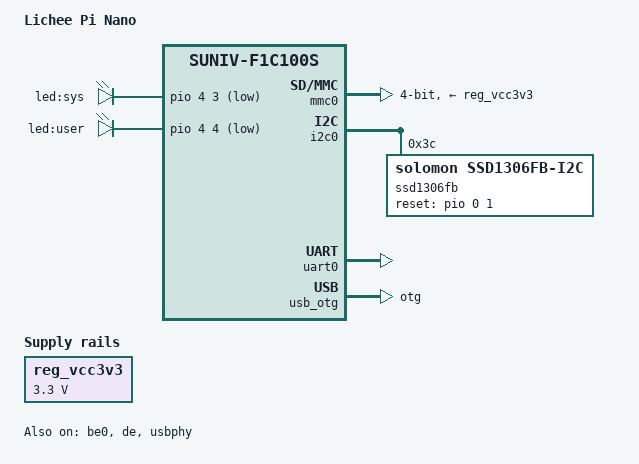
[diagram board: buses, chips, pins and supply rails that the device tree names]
// SPDX-License-Identifier: (GPL-2.0+ OR X11)
/*
 * Copyright 2018 Icenowy Zheng <icenowy@aosc.io>
 */

/dts-v1/;
#include "suniv-f1c100s.dtsi"

#include <dt-bindings/gpio/gpio.h>

/ {
	model = "Lichee Pi Nano";
	compatible = "licheepi,licheepi-nano", "allwinner,suniv-f1c100s";

	aliases {
		serial0 = &uart0;
		// serial1 = &uart1;
		i2c0 = &i2c0;
		// spi0 = &spi0;
	};

	chosen {
		stdout-path = "serial0:115200n8";
	};

	leds {
		compatible = "gpio-leds";

		sys_led {
			label = "led:sys";
			gpios = <&pio 4 3 GPIO_ACTIVE_LOW>; /* PE3 */
			default-state = "on";
		};

		user_led {
			label = "led:user";
			gpios = <&pio 4 4 GPIO_ACTIVE_LOW>; /* PE4 */
		};

		/*
		 *	点亮LED
		 *	echo 1 > /sys/class/leds/led\:user/brightness
		 *	熄灭LED
		 *	echo 0 > /sys/class/leds/led\:user/brightness
		 *	控制LED闪烁
		 *	# ls /sys/class/leds/led:user
		 *	brightness      max_brightness  subsystem       uevent
		 *	device          power           trigger
		 *	echo heartbeat > /sys/class/leds/led:user/trigger
		 */

	};

/*
	panel: panel {
		compatible = "lg,lb070wv8", "simple-panel";
		#address-cells = <1>;
		#size-cells = <0>;
		enable-gpios = <&pio 4 6 GPIO_ACTIVE_HIGH>;
		power-supply = <&reg_vcc3v3>;

 		port@0 {
			reg = <0>;
			#address-cells = <1>;
			#size-cells = <0>;

 			panel_input: endpoint@0 {
				reg = <0>;
				remote-endpoint = <&tcon0_out_lcd>;
			};
		};
	};
*/

	reg_vcc3v3: vcc3v3 {
		compatible = "regulator-fixed";
		regulator-name = "vcc3v3";
		regulator-min-microvolt = <3300000>;
		regulator-max-microvolt = <3300000>;
	};
};

&be0 {
	status = "okay";
};

&de {
	status = "okay";
};

// &tcon0 {
// 	pinctrl-names = "default";
// 	pinctrl-0 = <&lcd_rgb666_pins>;
// 	status = "okay";
// };

// &tcon0_out {
// 	tcon0_out_lcd: endpoint@0 {
// 		reg = <0>;
// 		remote-endpoint = <&panel_input>;
// 	};
// };

&mmc0 {
	vmmc-supply = <&reg_vcc3v3>;
	bus-width = <4>;
	broken-cd;
	status = "okay";
};

/*
&spi0 {
	pinctrl-names = "default";
    pinctrl-0 = <&spi0_pins_a>;
    status = "okay";

    ili9341@0 {
               compatible = "ilitek,ili9341";
               reg = <0>;

               spi-max-frequency = <50000000>;
               rotate = <270>;
               bgr;
               fps = <30>;
               buswidth = <8>;
               reset-gpios = <&pio 3 5 GPIO_ACTIVE_LOW>;
               dc-gpios = <&pio 3 6 GPIO_ACTIVE_HIGH>;
               debug = <0>;
       };
};
*/

&i2c0 {
	status = "okay";

	ssd1306fb: ssd1306fb@3c {
		compatible = "solomon,ssd1306fb-i2c";
		reg = <0x3c>;
		solomon,width = <128>;
		solomon,height = <64>;
		reset-gpios = <&pio 0 1 GPIO_ACTIVE_HIGH>;
		solomon,page-offset = <0>;
		solomon,com-invdir;
		debug = <0>;
	};
};

&uart0 {
	pinctrl-names = "default";
	pinctrl-0 = <&uart0_pe_pins>;
	status = "okay";
};

/*
&uart1 {
	pinctrl-0 = <&uart1_pe_pins>;
	pinctrl-names = "default";
	status = "okay";
};
*/

&otg_sram {
	status = "okay";
};

&usb_otg {
	dr_mode = "otg";
	status = "okay";
};

&usbphy {
	usb0_id_det = <&pio 4 2 GPIO_ACTIVE_HIGH>; /* PE2 */
	status = "okay";
};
